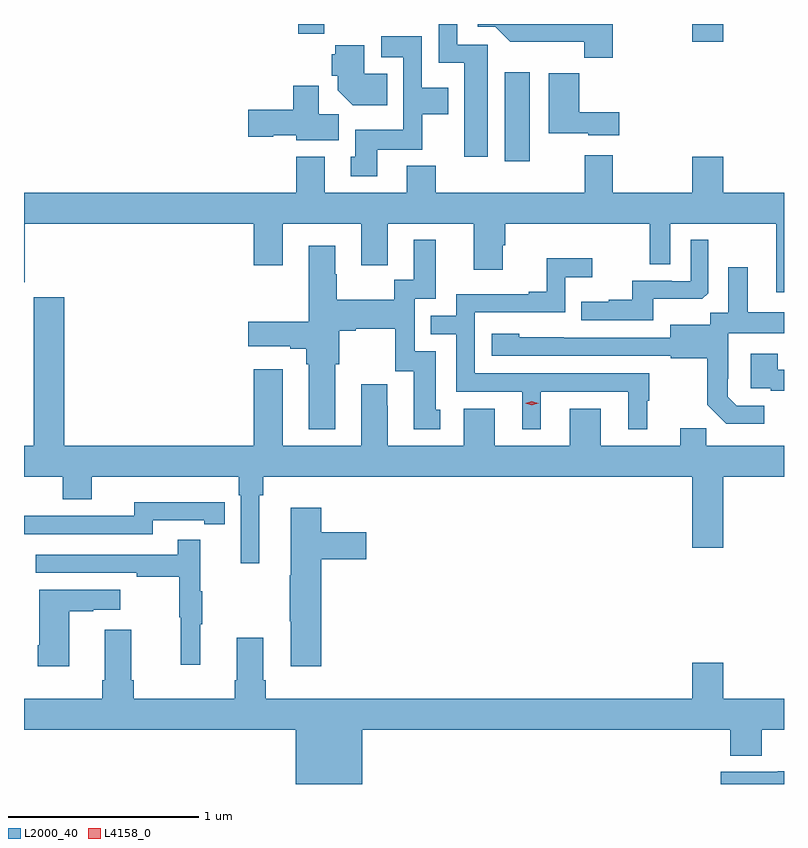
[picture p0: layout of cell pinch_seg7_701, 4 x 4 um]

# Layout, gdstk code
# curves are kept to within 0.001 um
import gdstk
lib = gdstk.Library(unit=1e-6, precision=1e-09)
def R(c, l, rs):  # rectangles x0, y0, x1, y1
    for r in rs: c.add(gdstk.rectangle(r[:2], r[2:], *l))
def P(c, l, *ps):  # polygons
    for p in ps: c.add(gdstk.Polygon(p, *l))
L2000_40 = (2000, 40)
L4158_0 = (4158, 0)

pinch_seg7_701 = lib.new_cell('pinch_seg7_701')
R(pinch_seg7_701, L2000_40, [(319.865,1040.904,319.996,1041.373), (320.852,1041.534,321.016,1041.627), (318.778,1041.576,318.914,1041.627)])
P(pinch_seg7_701, L2000_40, [(320.433,1041.627),(319.722,1041.627),(319.722,1041.612),(319.815,1041.612),(319.894,1041.534),(320.283,1041.534),(320.283,1041.449),(320.433,1041.449)],
  [(319.777,1041.519),(319.614,1041.519),(319.614,1041.627),(319.518,1041.627),(319.518,1041.422),(319.652,1041.422),(319.652,1040.928),(319.777,1040.928)],
  [(319.195,1040.966),(319.431,1040.966),(319.431,1041.152),(319.567,1041.152),(319.567,1041.292),(319.428,1041.292),(319.428,1041.562),(319.215,1041.562),(319.215,1041.453),(319.332,1041.453),(319.332,1041.07),(319.079,1041.07),(319.079,1040.928),(319.055,1040.928),(319.055,1040.826),(319.195,1040.826)],
  [(319.247,1041.364),(319.126,1041.364),(319.126,1041.514),(318.974,1041.514),(318.974,1041.468),(318.956,1041.468),(318.956,1041.354),(318.986,1041.354),(318.986,1041.278),(319.064,1041.2),(319.247,1041.2)],
  [(320.467,1041.163),(320.258,1041.163),(320.258,1041.367),(320.096,1041.367),(320.096,1041.053),(320.304,1041.053),(320.304,1041.041),(320.467,1041.041)],
  [(318.991,1041.152),(318.886,1041.152),(318.886,1041.301),(318.752,1041.301),(318.752,1041.176),(318.516,1041.176),(318.516,1041.034),(318.648,1041.034),(318.648,1041.041),(318.768,1041.041),(318.768,1041.014),(318.991,1041.014)],
  [(321.335,1040.74),(321.016,1040.74),(321.016,1040.929),(320.852,1040.929),(320.852,1040.74),(320.433,1040.74),(320.433,1040.935),(320.285,1040.935),(320.285,1040.74),(319.502,1040.74),(319.502,1040.881),(319.349,1040.881),(319.349,1040.74),(318.919,1040.74),(318.919,1040.929),(318.767,1040.929),(318.767,1040.74),(317.335,1040.74),(317.335,1040.267),(317.338,1040.267),(317.338,1040.576),(318.545,1040.576),(318.545,1040.358),(318.697,1040.358),(318.697,1040.576),(319.109,1040.576),(319.109,1040.358),(319.249,1040.358),(319.249,1040.576),(319.703,1040.576),(319.703,1040.334),(319.855,1040.334),(319.855,1040.463),(319.868,1040.463),(319.868,1040.576),(320.628,1040.576),(320.628,1040.362),(320.736,1040.362),(320.736,1040.576),(321.293,1040.576),(321.293,1040.214),(321.335,1040.214)],
  [(320.647,1040.18),(320.905,1040.18),(320.937,1040.211),(320.937,1040.491),(320.844,1040.491),(320.844,1040.274),(320.744,1040.274),(320.744,1040.277),(320.537,1040.277),(320.537,1040.176),(320.413,1040.176),(320.413,1040.164),(320.269,1040.164),(320.269,1040.067),(320.647,1040.067)],
  [(318.973,1039.835),(318.993,1039.835),(318.993,1040.012),(319.081,1040.012),(319.081,1040.024),(319.289,1040.024),(319.289,1039.8),(319.385,1039.8),(319.385,1039.494),(319.525,1039.494),(319.525,1039.596),(319.501,1039.596),(319.501,1039.905),(319.392,1039.905),(319.392,1040.181),(319.501,1040.181),(319.501,1040.491),(319.385,1040.491),(319.385,1040.282),(319.284,1040.282),(319.284,1040.176),(318.981,1040.176),(318.981,1040.31),(318.973,1040.31),(318.973,1040.461),(318.833,1040.461),(318.833,1040.061),(318.516,1040.061),(318.516,1039.931),(318.737,1039.931),(318.737,1039.919),(318.821,1039.919),(318.821,1039.835),(318.833,1039.835),(318.833,1039.493),(318.973,1039.493)],
  [(320.056,1039.692),(320.516,1039.692),(320.516,1039.493),(320.614,1039.493),(320.614,1039.644),(320.626,1039.644),(320.626,1039.788),(319.707,1039.788),(319.707,1040.109),(320.184,1040.109),(320.184,1040.294),(320.326,1040.294),(320.326,1040.393),(320.086,1040.393),(320.086,1040.218),(319.991,1040.218),(319.991,1040.205),(319.611,1040.205),(319.611,1040.091),(319.477,1040.091),(319.477,1039.995),(319.611,1039.995),(319.611,1039.692),(319.958,1039.692),(319.958,1039.493),(320.056,1039.493)],
  [(321.232,1039.617),(321.087,1039.617),(321.04,1039.664),(321.04,1039.759),(321.042,1039.759),(321.042,1040),(321.335,1040),(321.335,1040.11),(321.145,1040.11),(321.145,1040.347),(321.041,1040.347),(321.041,1040.108),(320.946,1040.108),(320.946,1040.044),(320.735,1040.044),(320.735,1039.977),(319.941,1039.978),(319.941,1039.996),(319.797,1039.996),(319.797,1039.881),(320.739,1039.881),(320.739,1039.869),(320.931,1039.869),(320.931,1039.623),(321.031,1039.523),(321.232,1039.523)],
  [(318.574,1039.148),(318.593,1039.148),(318.593,1039.244),(320.852,1039.244),(320.852,1038.87),(321.016,1038.87),(321.016,1039.244),(321.335,1039.244),(321.335,1039.408),(320.927,1039.408),(320.927,1039.499),(320.789,1039.499),(320.789,1039.408),(320.371,1039.408),(320.371,1039.603),(320.207,1039.603),(320.207,1039.408),(319.813,1039.408),(319.813,1039.603),(319.649,1039.603),(319.649,1039.408),(319.249,1039.408),(319.249,1039.619),(319.246,1039.619),(319.246,1039.732),(319.109,1039.732),(319.109,1039.408),(318.697,1039.408),(318.697,1039.81),(318.545,1039.81),(318.545,1039.408),(317.546,1039.408),(317.546,1040.188),(317.386,1040.188),(317.386,1039.408),(317.335,1039.408),(317.335,1039.244),(317.54,1039.244),(317.54,1039.127),(317.692,1039.127),(317.692,1039.244),(318.464,1039.244),(318.464,1039.148),(318.477,1039.148),(318.477,1038.789),(318.574,1038.789)],
  [(321.335,1039.806),(321.301,1039.806),(321.301,1039.891),(321.161,1039.891),(321.161,1039.71),(321.265,1039.71),(321.265,1039.698),(321.335,1039.698)],
  [(318.012,1039.014),(318.284,1039.014),(318.284,1038.994),(318.392,1038.994),(318.392,1039.11),(318.284,1039.11),(318.284,1039.111),(317.916,1039.111),(317.916,1039.038),(317.456,1039.038),(317.456,1039.04),(317.335,1039.04),(317.335,1038.942),(318.012,1038.942)],
  [(318.899,1038.809),(319.135,1038.809),(319.135,1038.951),(318.899,1038.951),(318.899,1039.081),(318.74,1039.081),(318.74,1038.725),(318.733,1038.725),(318.733,1038.484),(318.74,1038.484),(318.74,1038.246),(318.899,1038.246)],
  [(318.263,1038.467),(318.274,1038.467),(318.274,1038.641),(318.263,1038.641),(318.263,1038.913),(318.145,1038.913),(318.145,1038.834),(317.397,1038.834),(317.397,1038.738),(317.929,1038.738),(317.929,1038.718),(318.153,1038.718),(318.153,1038.504),(318.16,1038.504),(318.16,1038.255),(318.263,1038.255)],
  [(317.572,1038.535),(317.699,1038.535),(317.699,1038.545),(317.842,1038.545),(317.842,1038.649),(317.414,1038.649),(317.414,1038.358),(317.407,1038.358),(317.407,1038.246),(317.572,1038.246)],
  [(319.114,1037.912),(321.053,1037.912),(321.053,1037.776),(321.218,1037.776),(321.218,1037.912),(321.335,1037.912),(321.335,1038.076),(321.016,1038.076),(321.016,1038.265),(320.852,1038.265),(320.852,1038.076),(318.608,1038.076),(318.608,1038.172),(318.595,1038.172),(318.595,1038.397),(318.455,1038.397),(318.455,1038.172),(318.443,1038.172),(318.443,1038.076),(317.912,1038.076),(317.912,1038.172),(317.899,1038.172),(317.899,1038.439),(317.759,1038.439),(317.759,1038.172),(317.747,1038.172),(317.747,1038.076),(317.335,1038.076),(317.335,1037.912),(318.764,1037.912),(318.764,1037.627),(319.114,1037.627)],
  [(321.335,1037.694),(321.301,1037.694),(321.301,1037.691),(321.001,1037.691),(321.001,1037.627),(321.335,1037.627)])
P(pinch_seg7_701, L4158_0, [(320.007,1039.621),(319.972,1039.631),(319.971,1039.631),(319.972,1039.631),(320.007,1039.641),(320.042,1039.631),(320.043,1039.631),(320.042,1039.631)])

lib.write_gds('pinch_seg7_701.gds')
